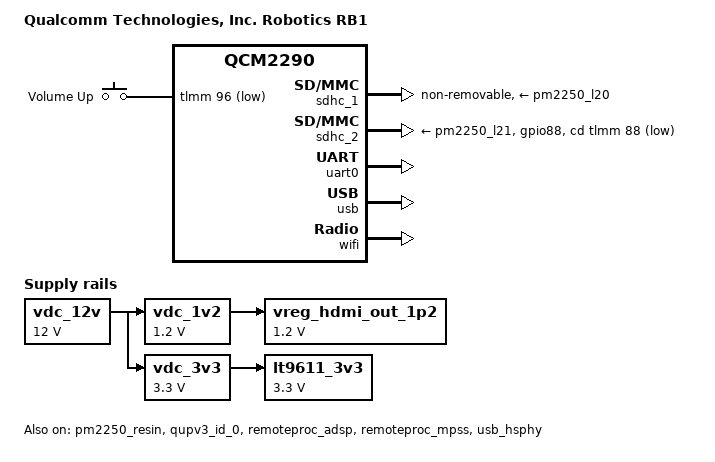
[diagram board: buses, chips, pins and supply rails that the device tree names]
// SPDX-License-Identifier: (GPL-2.0+ OR BSD-3-Clause)
/*
 * Copyright (c) 2023, Linaro Ltd
 */

/dts-v1/;

#include "qcm2290.dtsi"
#include "pm2250.dtsi"

/ {
	model = "Qualcomm Technologies, Inc. Robotics RB1";
	compatible = "qcom,qrb2210-rb1", "qcom,qrb2210", "qcom,qcm2290";

	aliases {
		serial0 = &uart0;
		sdhc1 = &sdhc_1;
		sdhc2 = &sdhc_2;
	};

	chosen {
		stdout-path = "serial0:115200n8";
	};

	gpio-keys {
		compatible = "gpio-keys";
		label = "gpio-keys";

		pinctrl-0 = <&key_volp_n>;
		pinctrl-names = "default";

		key-volume-up {
			label = "Volume Up";
			linux,code = <KEY_VOLUMEUP>;
			gpios = <&tlmm 96 GPIO_ACTIVE_LOW>;
			debounce-interval = <15>;
			linux,can-disable;
			wakeup-source;
		};
	};

	vreg_hdmi_out_1p2: regulator-hdmi-out-1p2 {
		compatible = "regulator-fixed";
		regulator-name = "VREG_HDMI_OUT_1P2";
		regulator-min-microvolt = <1200000>;
		regulator-max-microvolt = <1200000>;
		vin-supply = <&vdc_1v2>;
		regulator-always-on;
		regulator-boot-on;
	};

	lt9611_3v3: regulator-lt9611-3v3 {
		compatible = "regulator-fixed";
		regulator-name = "LT9611_3V3";
		regulator-min-microvolt = <3300000>;
		regulator-max-microvolt = <3300000>;
		vin-supply = <&vdc_3v3>;
		regulator-always-on;
		regulator-boot-on;
	};

	/* 1.2V supply stepped down from the barrel jack input */
	vdc_1v2: regulator-vdc-1v2 {
		compatible = "regulator-fixed";
		regulator-name = "VDC_1V2";
		regulator-min-microvolt = <1200000>;
		regulator-max-microvolt = <1200000>;
		vin-supply = <&vdc_12v>;
		regulator-always-on;
		regulator-boot-on;
	};

	/* 3.3V supply stepped down from the barrel jack input */
	vdc_3v3: regulator-vdc-3v3 {
		compatible = "regulator-fixed";
		regulator-name = "VDC_3V3";
		regulator-min-microvolt = <3300000>;
		regulator-max-microvolt = <3300000>;
		vin-supply = <&vdc_12v>;
		regulator-always-on;
		regulator-boot-on;
	};

	/* Main barrel jack input */
	vdc_12v: regulator-vdc-12v {
		compatible = "regulator-fixed";
		regulator-name = "DC_12V";
		regulator-min-microvolt = <12000000>;
		regulator-max-microvolt = <12000000>;
		regulator-always-on;
		regulator-boot-on;
	};
};

&pm2250_resin {
	linux,code = <KEY_VOLUMEDOWN>;
	status = "okay";
};

&qupv3_id_0 {
	status = "okay";
};

&remoteproc_adsp {
	firmware-name = "qcom/qcm2290/adsp.mbn";
	status = "okay";
};

&remoteproc_mpss {
	firmware-name = "qcom/qcm2290/modem.mbn";
	status = "okay";
};

&rpm_requests {
	regulators {
		compatible = "qcom,rpm-pm2250-regulators";

		/* S2 - VDD_CX */

		pm2250_s3: s3 {
			/* 0.4V-1.6625V -> 1.3V (Power tree requirements) */
			regulator-min-microvolts = <1350000>;
			regulator-max-microvolts = <1350000>;
		};

		pm2250_s4: s4 {
			/* 1.2V-2.35V -> 2.05V (Power tree requirements) */
			regulator-min-microvolts = <2050000>;
			regulator-max-microvolts = <2050000>;
		};

		/* L1 - VDD_MX */

		pm2250_l2: l2 {
			/* 1.06V-1.3V -> 1.128V (LPDDR) */
			regulator-min-microvolts = <1128000>;
			regulator-max-microvolts = <1128000>;
			/* LPDDR supply, never try to turn it off. */
			regulator-always-on;
			regulator-boot-on;
		};

		pm2250_l3: l3 {
			/* 0.57V-0.65V -> 0.6V (LPDDR) */
			regulator-min-microvolts = <600000>;
			regulator-max-microvolts = <600000>;
			/* LPDDR supply, never try to turn it off. */
			regulator-always-on;
			regulator-boot-on;
		};

		pm2250_l4: l4 {
			/* max = 3.05V -> max = just below 3V (SDHCI2) */
			regulator-min-microvolts = <1648000>;
			regulator-max-microvolts = <2992000>;
			regulator-allow-set-load;
		};

		pm2250_l5: l5 {
			/* 1.1-1.312V -> 1.23V (DSI) */
			regulator-min-microvolts = <1230000>;
			regulator-max-microvolts = <1230000>;
			regulator-allow-set-load;
		};

		pm2250_l6: l6 {
			/* 0.488V-1V -> 0.928V (DRAM) */
			regulator-min-microvolts = <928000>;
			regulator-max-microvolts = <928000>;
			/* DRAM controller supply, never try to turn it off. */
			regulator-always-on;
			regulator-boot-on;
		};

		pm2250_l7: l7 {
			/* 0.4-0.728V -> 0.64V (Wi-Fi) */
			regulator-min-microvolts = <640000>;
			regulator-max-microvolts = <640000>;
		};

		/*
		 * L8 - VDD_LPI_CX
		 * L9 - VDD_LPI_MX
		 */

		pm2250_l10: l10 {
			/* 1.15V-1.138V -> 1.3V (Wi-Fi) */
			regulator-min-microvolts = <1300000>;
			regulator-max-microvolts = <1300000>;
		};

		pm2250_l11: l11 {
			regulator-min-microvolts = <950000>;
			regulator-max-microvolts = <1150000>;
		};

		pm2250_l12: l12 {
			/* 0.488V-1.0V -> 0.9V (QUSBPHY) */
			regulator-min-microvolts = <488000>;
			regulator-max-microvolts = <1000000>;
			regulator-allow-set-load;
		};

		pm2250_l13: l13 {
			/* 1.65V-1.95V -> 1.8V (USB/QFPROM/PLLs) */
			regulator-min-microvolts = <1800000>;
			regulator-max-microvolts = <1800000>;
			regulator-allow-set-load;
		};

		pm2250_l14: l14 {
			/* 1.7V-1.95V -> 1.8V (Wi-Fi) */
			regulator-min-microvolts = <1800000>;
			regulator-max-microvolts = <1800000>;
			regulator-allow-set-load;
			/* Broken hardware, never turn it off! */
			regulator-always-on;
		};

		pm2250_l15: l15 {
			/* 1.2V-2.0V -> 1.8V (WCD/DSI/BT VDDIO) */
			regulator-min-microvolts = <1800000>;
			regulator-max-microvolts = <1800000>;
			regulator-allow-set-load;
		};

		pm2250_l16: l16 {
			/* 1.5V-1.95V -> 1.8V (GPS) */
			regulator-min-microvolts = <1800000>;
			regulator-max-microvolts = <1800000>;
		};

		pm2250_l17: l17 {
			regulator-min-microvolts = <3000000>;
			regulator-max-microvolts = <3600000>;
		};

		pm2250_l18: l18 {
			/* 1.62V-3.3V -> 1.8V (VDD_PXn) */
			regulator-min-microvolts = <1800000>;
			regulator-max-microvolts = <1800000>;
		};

		pm2250_l19: l19 {
			/* 1.62V-3.3V -> 1.8V (VDD_PXn) */
			regulator-min-microvolts = <1800000>;
			regulator-max-microvolts = <1800000>;
		};

		pm2250_l20: l20 {
			/* 2.4V-3.6V -> 2.856V (SDHCI1) */
			regulator-min-microvolts = <2856000>;
			regulator-max-microvolts = <2856000>;
			regulator-allow-set-load;
		};

		pm2250_l21: l21 {
			/* min = 2.9V -> min = 2.96V (SDHCI2) */
			regulator-min-microvolts = <2960000>;
			regulator-max-microvolts = <3300000>;
			regulator-allow-set-load;
		};

		pm2250_l22: l22 {
			/* 2.85-3.4V -> 3.0-3.312V (Wi-Fi) */
			regulator-min-microvolts = <3000000>;
			regulator-max-microvolts = <3312000>;
		};
	};
};

&sdhc_1 {
	vmmc-supply = <&pm2250_l20>;
	vqmmc-supply = <&pm2250_l14>;
	pinctrl-0 = <&sdc1_state_on>;
	pinctrl-1 = <&sdc1_state_off>;
	pinctrl-names = "default", "sleep";
	non-removable;
	supports-cqe;
	no-sdio;
	no-sd;
	status = "okay";
};

&sdhc_2 {
	vmmc-supply = <&pm2250_l21>;
	vqmmc-supply = <&pm2250_l4>;
	cd-gpios = <&tlmm 88 GPIO_ACTIVE_LOW>;
	pinctrl-0 = <&sdc2_state_on &sd_det_in_on>;
	pinctrl-1 = <&sdc2_state_off &sd_det_in_off>;
	pinctrl-names = "default", "sleep";
	no-sdio;
	no-mmc;
	status = "okay";
};

&tlmm {
	sd_det_in_on: sd-det-in-on-state {
		pins = "gpio88";
		function = "gpio";
		drive-strength = <2>;
		bias-pull-up;
	};

	sd_det_in_off: sd-det-in-off-state {
		pins = "gpio88";
		function = "gpio";
		drive-strength = <2>;
		bias-disable;
	};

	key_volp_n: key-volp-n-state {
		pins = "gpio96";
		function = "gpio";
		bias-pull-up;
		output-disable;
	};
};

/* UART connected to the Micro-USB port via a FTDI chip */
&uart0 {
	compatible = "qcom,geni-debug-uart";
	status = "okay";
};

&usb {
	status = "okay";
};

&usb_hsphy {
	vdd-supply = <&pm2250_l12>;
	vdda-pll-supply = <&pm2250_l13>;
	vdda-phy-dpdm-supply = <&pm2250_l21>;
	status = "okay";
};

&wifi {
	/* TODO: Fix the ATH10k driver to request proper voltages.. */
	vdd-0.8-cx-mx-supply = <&pm2250_l7>;
	vdd-1.8-xo-supply = <&pm2250_l13>;
	vdd-1.3-rfa-supply = <&pm2250_l10>;
	vdd-3.3-ch0-supply = <&pm2250_l22>;
	status = "okay";
};

&xo_board {
	clock-frequency = <38400000>;
};
